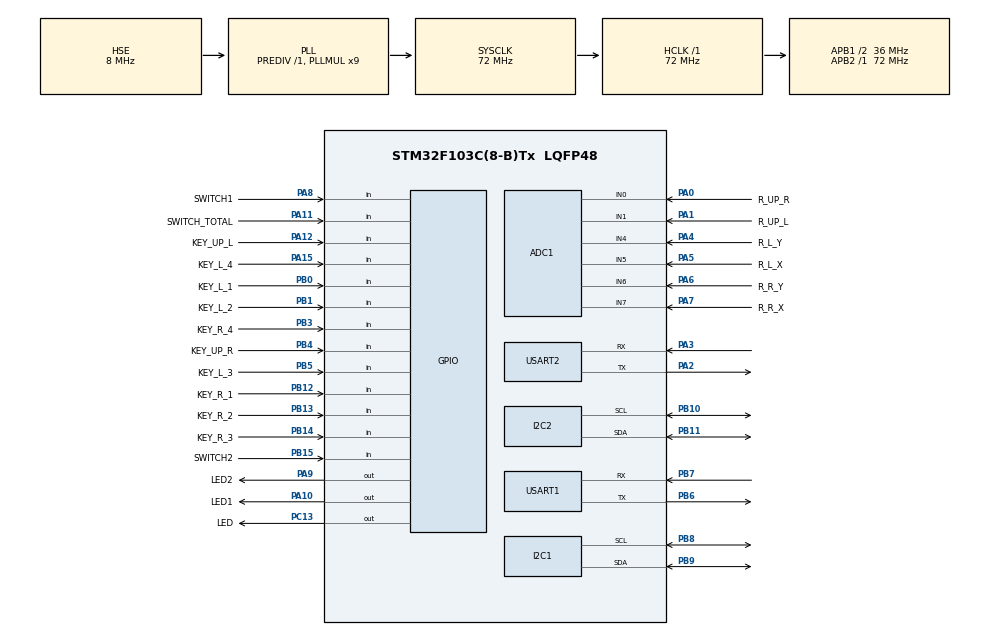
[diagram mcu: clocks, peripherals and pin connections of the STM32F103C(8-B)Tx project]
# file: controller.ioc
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ADC1.Channel-0\#ChannelRegularConversion=ADC_CHANNEL_0
ADC1.Channel-1\#ChannelRegularConversion=ADC_CHANNEL_1
ADC1.Channel-2\#ChannelRegularConversion=ADC_CHANNEL_4
ADC1.Channel-3\#ChannelRegularConversion=ADC_CHANNEL_5
ADC1.Channel-4\#ChannelRegularConversion=ADC_CHANNEL_6
ADC1.Channel-5\#ChannelRegularConversion=ADC_CHANNEL_7
ADC1.ContinuousConvMode=ENABLE
ADC1.NbrOfConversion=6
ADC1.NbrOfConversionFlag=1
ADC1.Rank-0\#ChannelRegularConversion=1
ADC1.Rank-1\#ChannelRegularConversion=2
ADC1.Rank-2\#ChannelRegularConversion=3
ADC1.Rank-3\#ChannelRegularConversion=4
ADC1.Rank-4\#ChannelRegularConversion=5
ADC1.Rank-5\#ChannelRegularConversion=6
ADC1.SamplingTime-0\#ChannelRegularConversion=ADC_SAMPLETIME_55CYCLES_5
ADC1.SamplingTime-1\#ChannelRegularConversion=ADC_SAMPLETIME_55CYCLES_5
ADC1.SamplingTime-2\#ChannelRegularConversion=ADC_SAMPLETIME_55CYCLES_5
ADC1.SamplingTime-3\#ChannelRegularConversion=ADC_SAMPLETIME_55CYCLES_5
ADC1.SamplingTime-4\#ChannelRegularConversion=ADC_SAMPLETIME_55CYCLES_5
ADC1.SamplingTime-5\#ChannelRegularConversion=ADC_SAMPLETIME_55CYCLES_5
ADC1.master=1
Dma.ADC1.0.Direction=DMA_PERIPH_TO_MEMORY
Dma.ADC1.0.Instance=DMA1_Channel1
Dma.ADC1.0.MemDataAlignment=DMA_MDATAALIGN_HALFWORD
Dma.ADC1.0.MemInc=DMA_MINC_ENABLE
Dma.ADC1.0.Mode=DMA_CIRCULAR
Dma.ADC1.0.PeriphDataAlignment=DMA_PDATAALIGN_HALFWORD
Dma.ADC1.0.PeriphInc=DMA_PINC_DISABLE
Dma.ADC1.0.Priority=DMA_PRIORITY_MEDIUM
Dma.I2C2_TX.1.Direction=DMA_MEMORY_TO_PERIPH
Dma.I2C2_TX.1.Instance=DMA1_Channel4
Dma.I2C2_TX.1.MemDataAlignment=DMA_MDATAALIGN_BYTE
Dma.I2C2_TX.1.MemInc=DMA_MINC_ENABLE
Dma.I2C2_TX.1.Mode=DMA_NORMAL
Dma.I2C2_TX.1.PeriphDataAlignment=DMA_PDATAALIGN_BYTE
Dma.I2C2_TX.1.PeriphInc=DMA_PINC_DISABLE
Dma.I2C2_TX.1.Priority=DMA_PRIORITY_LOW
Dma.Request0=ADC1
Dma.Request1=I2C2_TX
FREERTOS.BinarySemaphores01=adc_sem,Dynamic,NULL;key_sem,Dynamic,NULL;iic_sem,Dynamic,NULL
FREERTOS.Tasks01=miantask,0,256,main_func,Default,NULL,Dynamic,NULL,NULL;ADCtask,0,256,ADC_func,Default,NULL,Dynamic,NULL,NULL;keytask,0,256,key_func,Default,NULL,Dynamic,NULL,NULL;iictask,0,256,iic_func,Default,NULL,Dynamic,NULL,NULL
FREERTOS.configTOTAL_HEAP_SIZE=10240
FREERTOS.configUSE_STATS_FORMATTING_FUNCTIONS=0
FREERTOS.configUSE_TRACE_FACILITY=0
I2C2.I2C_Mode=I2C_Fast
Mcu.Family=STM32F1
Mcu.Name=STM32F103C(8-B)Tx
Mcu.Package=LQFP48
NVIC.DMA1_Channel1_IRQn=true\:5\:0\:false\:false\:true\:true\:false\:true\:true
NVIC.DMA1_Channel4_IRQn=true\:5\:0\:false\:false\:true\:true\:false\:true\:true
NVIC.I2C2_EV_IRQn=true\:5\:0\:false\:false\:true\:true\:true\:true\:true
NVIC.PriorityGroup=NVIC_PRIORITYGROUP_4
NVIC.TIM4_IRQn=true\:15\:0\:false\:false\:true\:false\:false\:true\:true
NVIC.TimeBase=TIM4_IRQn
NVIC.TimeBaseIP=TIM4
NVIC.USART2_IRQn=true\:5\:0\:false\:false\:true\:true\:true\:true\:true
PA0-WKUP.GPIO_Label=R_UP_R
PA0-WKUP.Signal=ADCx_IN0
PA1.GPIO_Label=R_UP_L
PA1.Signal=ADCx_IN1
PA10.GPIO_Label=LED1
PA10.Signal=GPIO_Output
PA11.GPIO_Label=SWITCH_TOTAL
PA11.GPIO_PuPd=GPIO_PULLDOWN
PA11.Signal=GPIO_Input
PA12.GPIO_Label=KEY_UP_L
PA12.GPIO_PuPd=GPIO_PULLUP
PA12.Signal=GPIO_Input
PA13.Mode=Serial_Wire
PA13.Signal=SYS_JTMS-SWDIO
PA14.Mode=Serial_Wire
PA14.Signal=SYS_JTCK-SWCLK
PA15.GPIO_Label=KEY_L_4
PA15.GPIO_PuPd=GPIO_PULLDOWN
PA15.Signal=GPIO_Input
PA2.Mode=Asynchronous
PA2.Signal=USART2_TX
PA3.Mode=Asynchronous
PA3.Signal=USART2_RX
PA4.GPIO_Label=R_L_Y
PA4.Signal=ADCx_IN4
PA5.GPIO_Label=R_L_X
PA5.Signal=ADCx_IN5
PA6.GPIO_Label=R_R_Y
PA6.Signal=ADCx_IN6
PA7.GPIO_Label=R_R_X
PA7.Signal=ADCx_IN7
PA8.GPIO_Label=SWITCH1
PA8.GPIO_PuPd=GPIO_PULLDOWN
PA8.Signal=GPIO_Input
PA9.GPIO_Label=LED2
PA9.Signal=GPIO_Output
PB0.GPIO_Label=KEY_L_1
PB0.GPIO_PuPd=GPIO_PULLDOWN
PB0.Signal=GPIO_Input
PB1.GPIO_Label=KEY_L_2
PB1.GPIO_PuPd=GPIO_PULLDOWN
PB1.Signal=GPIO_Input
PB10.Mode=I2C
PB10.Signal=I2C2_SCL
PB11.Mode=I2C
PB11.Signal=I2C2_SDA
PB12.GPIO_Label=KEY_R_1
PB12.GPIO_PuPd=GPIO_PULLDOWN
PB12.Signal=GPIO_Input
PB13.GPIO_Label=KEY_R_2
PB13.GPIO_PuPd=GPIO_PULLDOWN
PB13.Signal=GPIO_Input
PB14.GPIO_Label=KEY_R_3
PB14.GPIO_PuPd=GPIO_PULLDOWN
PB14.Signal=GPIO_Input
PB15.GPIO_Label=SWITCH2
PB15.GPIO_PuPd=GPIO_PULLDOWN
PB15.Signal=GPIO_Input
PB3.GPIO_Label=KEY_R_4
PB3.GPIO_PuPd=GPIO_PULLDOWN
PB3.Signal=GPIO_Input
PB4.GPIO_Label=KEY_UP_R
PB4.GPIO_PuPd=GPIO_PULLUP
PB4.Signal=GPIO_Input
PB5.GPIO_Label=KEY_L_3
PB5.GPIO_PuPd=GPIO_PULLDOWN
PB5.Signal=GPIO_Input
PB6.Mode=Asynchronous
PB6.Signal=USART1_TX
PB7.Mode=Asynchronous
PB7.Signal=USART1_RX
PB8.Mode=I2C
PB8.Signal=I2C1_SCL
PB9.Mode=I2C
PB9.Signal=I2C1_SDA
PC13-TAMPER-RTC.GPIO_Label=LED
PC13-TAMPER-RTC.Signal=GPIO_Output
PC14-OSC32_IN.Mode=LSE-External-Oscillator
PC14-OSC32_IN.Signal=RCC_OSC32_IN
PC15-OSC32_OUT.Mode=LSE-External-Oscillator
PC15-OSC32_OUT.Signal=RCC_OSC32_OUT
PD0-OSC_IN.Mode=HSE-External-Oscillator
PD0-OSC_IN.Signal=RCC_OSC_IN
PD1-OSC_OUT.Mode=HSE-External-Oscillator
PD1-OSC_OUT.Signal=RCC_OSC_OUT
ProjectManager.HeapSize=0x200
ProjectManager.StackSize=0x400
ProjectManager.TargetToolchain=MDK-ARM V5.32
RCC.ADCPresc=RCC_ADCPCLK2_DIV6
RCC.AHBFreq_Value=72000000
RCC.APB1CLKDivider=RCC_HCLK_DIV2
RCC.APB1Freq_Value=36000000
RCC.APB1TimFreq_Value=72000000
RCC.APB2Freq_Value=72000000
RCC.APB2TimFreq_Value=72000000
RCC.HCLKFreq_Value=72000000
RCC.PLLMUL=RCC_PLL_MUL9
RCC.PLLSourceVirtual=RCC_PLLSOURCE_HSE
RCC.SYSCLKFreq_VALUE=72000000
RCC.SYSCLKSource=RCC_SYSCLKSOURCE_PLLCLK
RCC.USBFreq_Value=72000000
SH.ADCx_IN0.0=ADC1_IN0,IN0
SH.ADCx_IN1.0=ADC1_IN1,IN1
SH.ADCx_IN4.0=ADC1_IN4,IN4
SH.ADCx_IN5.0=ADC1_IN5,IN5
SH.ADCx_IN6.0=ADC1_IN6,IN6
SH.ADCx_IN7.0=ADC1_IN7,IN7
USART1.VirtualMode=VM_ASYNC
USART2.VirtualMode=VM_ASYNC
VP_FREERTOS_VS_CMSIS_V1.Mode=CMSIS_V1
VP_SYS_VS_tim4.Mode=TIM4
board=custom

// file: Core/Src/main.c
/* USER CODE BEGIN Header */
/**
  ******************************************************************************
  * @file           : main.c
  * @brief          : Main program body
  ******************************************************************************
  * @attention
  *
  * Copyright (c) 2023 STMicroelectronics.
  * All rights reserved.
  *
  * This software is licensed under terms that can be found in the LICENSE file
  * in the root directory of this software component.
  * If no LICENSE file comes with this software, it is provided AS-IS.
  *
  ******************************************************************************
  */
/* USER CODE END Header */
#include "main.h"
#include "cmsis_os.h"
#include "adc.h"
#include "dma.h"
#include "i2c.h"
#include "usart.h"
#include "gpio.h"

/* USER CODE BEGIN Includes */
#include "stdio.h"
#include "mpu6050.h"
#include "inv_mpu.h"
#include "OLED.h"
#include "user.h"
int fputc(int ch, FILE *f)
{
	uint8_t temp[1] = {ch};
	HAL_UART_Transmit(&huart1, temp, 1, 2); // 需要修改
	return ch;
}
/* USER CODE END Includes */

void SystemClock_Config(void);
void MX_FREERTOS_Init(void);

int main(void)
{

  /* MCU Configuration--------------------------------------------------------*/

  /* Reset of all peripherals, Initializes the Flash interface and the Systick. */
  HAL_Init();

  /* Configure the system clock */
  SystemClock_Config();

  /* USER CODE BEGIN SysInit */

	/*
	注意，每次生成代码之后，需要手动调整一下初始化顺序，让DMA在ADC之前完成初始化，否则会导致启动失败，原因未知
	形式如下
	MX_GPIO_Init();
	MX_DMA_Init();
  MX_ADC1_Init();
  MX_I2C1_Init();
  MX_I2C2_Init();
  MX_USART1_UART_Init();
  MX_USART2_UART_Init();
	*/

  /* USER CODE END SysInit */

  /* Initialize all configured peripherals */
  MX_GPIO_Init();
	MX_DMA_Init();
  MX_ADC1_Init();
  MX_I2C1_Init();
  MX_I2C2_Init();
  MX_USART1_UART_Init();
  MX_USART2_UART_Init();
  /* USER CODE BEGIN 2 */

	mpu_dmp_init();
	OLED_init();
	HAL_Delay(200);
	OLED_refresh_gram();

	trans_init();

  /* USER CODE END 2 */

  /* Call init function for freertos objects (in freertos.c) */
  MX_FREERTOS_Init();

  /* Start scheduler */
  osKernelStart();

  /* We should never get here as control is now taken by the scheduler */
  /* Infinite loop */
  while (1)
  {

  }
}

void SystemClock_Config(void)
{
  RCC_OscInitTypeDef RCC_OscInitStruct = {0};
  RCC_ClkInitTypeDef RCC_ClkInitStruct = {0};
  RCC_PeriphCLKInitTypeDef PeriphClkInit = {0};

  /** Initializes the RCC Oscillators according to the specified parameters
  * in the RCC_OscInitTypeDef structure.
  */
  RCC_OscInitStruct.OscillatorType = RCC_OSCILLATORTYPE_HSE;
  RCC_OscInitStruct.HSEState = RCC_HSE_ON;
  RCC_OscInitStruct.HSEPredivValue = RCC_HSE_PREDIV_DIV1;
  RCC_OscInitStruct.HSIState = RCC_HSI_ON;
  RCC_OscInitStruct.PLL.PLLState = RCC_PLL_ON;
  RCC_OscInitStruct.PLL.PLLSource = RCC_PLLSOURCE_HSE;
  RCC_OscInitStruct.PLL.PLLMUL = RCC_PLL_MUL9;
  if (HAL_RCC_OscConfig(&RCC_OscInitStruct) != HAL_OK)
  {
    Error_Handler();
  }

  /** Initializes the CPU, AHB and APB buses clocks
  */
  RCC_ClkInitStruct.ClockType = RCC_CLOCKTYPE_HCLK|RCC_CLOCKTYPE_SYSCLK
                              |RCC_CLOCKTYPE_PCLK1|RCC_CLOCKTYPE_PCLK2;
  RCC_ClkInitStruct.SYSCLKSource = RCC_SYSCLKSOURCE_PLLCLK;
  RCC_ClkInitStruct.AHBCLKDivider = RCC_SYSCLK_DIV1;
  RCC_ClkInitStruct.APB1CLKDivider = RCC_HCLK_DIV2;
  RCC_ClkInitStruct.APB2CLKDivider = RCC_HCLK_DIV1;

  if (HAL_RCC_ClockConfig(&RCC_ClkInitStruct, FLASH_LATENCY_2) != HAL_OK)
  {
    Error_Handler();
  }
  PeriphClkInit.PeriphClockSelection = RCC_PERIPHCLK_ADC;
  PeriphClkInit.AdcClockSelection = RCC_ADCPCLK2_DIV6;
  if (HAL_RCCEx_PeriphCLKConfig(&PeriphClkInit) != HAL_OK)
  {
    Error_Handler();
  }
}

void HAL_TIM_PeriodElapsedCallback(TIM_HandleTypeDef *htim)
{
  if (htim->Instance == TIM4) {
    HAL_IncTick();
  }
}

void Error_Handler(void)
{
  __disable_irq();
  while (1)
  {
  }
}

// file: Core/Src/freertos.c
/* USER CODE BEGIN Header */
/**
  ******************************************************************************
  * File Name          : freertos.c
  * Description        : Code for freertos applications
  ******************************************************************************
  * @attention
  *
  * Copyright (c) 2023 STMicroelectronics.
  * All rights reserved.
  *
  * This software is licensed under terms that can be found in the LICENSE file
  * in the root directory of this software component.
  * If no LICENSE file comes with this software, it is provided AS-IS.
  *
  ******************************************************************************
  */
/* USER CODE END Header */

#include "FreeRTOS.h"
#include "task.h"
#include "main.h"
#include "cmsis_os.h"

/* USER CODE BEGIN Includes */
#include "adc.h"
#include "stdio.h"
#include "mpu6050.h"
#include "inv_mpu.h"
#include "key_led.h"
#include "OLED.h"
#include <stdlib.h>
#include <string.h>
#include "user.h"

/* USER CODE END Includes */

/* USER CODE BEGIN PM */

void draw_rect(uint8_t x,uint8_t y,uint8_t x2,uint8_t y2)
{

	OLED_draw_line(x, y, x2,y,PEN_WRITE);
	OLED_draw_line(x, y, x,y2,PEN_WRITE);
	OLED_draw_line(x2, y2, x2,y,PEN_WRITE);
	OLED_draw_line(x, y2, x2,y2,PEN_WRITE);

}

void eraser_rect(uint8_t x,uint8_t y,uint8_t x2,uint8_t y2)
{

	OLED_draw_line(x, y, x2,y,PEN_CLEAR);
	OLED_draw_line(x, y, x,y2,PEN_CLEAR);
	OLED_draw_line(x2, y2, x2,y,PEN_CLEAR);
	OLED_draw_line(x, y2, x2,y2,PEN_CLEAR);

}

void draw_point(uint8_t x,uint8_t y)
{
	OLED_draw_point(x,y,PEN_WRITE);
	OLED_draw_point(x-1,y,PEN_WRITE);
	OLED_draw_point(x+1,y,PEN_WRITE);
	OLED_draw_point(x,y-1,PEN_WRITE);
	OLED_draw_point(x,y+1,PEN_WRITE);
}

void eraser_point(uint8_t x,uint8_t y)
{
	OLED_draw_point(x,y,PEN_CLEAR);
	OLED_draw_point(x-1,y,PEN_CLEAR);
	OLED_draw_point(x+1,y,PEN_CLEAR);
	OLED_draw_point(x,y-1,PEN_CLEAR);
	OLED_draw_point(x,y+1,PEN_CLEAR);
}

// 定义了方向，最左侧为1，顺时针增加
#define LFLAG 1
#define UFLAG 2
#define RFLAG 3
#define DFLAG 4

void draw_key_line(uint8_t x, uint8_t y, uint8_t FLAG)
{
	// 给出中间点，自动延伸
	// 左侧   上:21,19 | 下:21,25 | 左:17,20 | 右25,20
	// 右侧   上:21+85,19 | 下:21+85,25 | 左:17+85,20 | 右25+85,20
//	draw_key_line(21,19,UFLAG);
//	draw_key_line(25,20,RFLAG);
//	draw_key_line(17,20,LFLAG);
//	draw_key_line(21,25,DFLAG);
	switch(FLAG)
	{
		case LFLAG:
			OLED_draw_point(x,y,PEN_WRITE);
			OLED_draw_point(x-3,y,PEN_WRITE);
			OLED_draw_point(x-4,y,PEN_WRITE);
			OLED_draw_point(x-7,y,PEN_WRITE);

			OLED_draw_point(x-1,y,PEN_CLEAR);
			OLED_draw_point(x-2,y,PEN_CLEAR);
			OLED_draw_point(x-5,y,PEN_CLEAR);
			OLED_draw_point(x-6,y,PEN_CLEAR);
			break;
		case RFLAG:
			OLED_draw_point(x,y,PEN_WRITE);
			OLED_draw_point(x+3,y,PEN_WRITE);
			OLED_draw_point(x+4,y,PEN_WRITE);
			OLED_draw_point(x+7,y,PEN_WRITE);

			OLED_draw_point(x+1,y,PEN_CLEAR);
			OLED_draw_point(x+2,y,PEN_CLEAR);
			OLED_draw_point(x+5,y,PEN_CLEAR);
			OLED_draw_point(x+6,y,PEN_CLEAR);
			break;
		case DFLAG:
			OLED_draw_point(x,y,PEN_WRITE);
			OLED_draw_point(x,y+3,PEN_WRITE);
			OLED_draw_point(x,y+4,PEN_WRITE);
			OLED_draw_point(x,y+7,PEN_WRITE);

			OLED_draw_point(x,y+1,PEN_CLEAR);
			OLED_draw_point(x,y+2,PEN_CLEAR);
			OLED_draw_point(x,y+5,PEN_CLEAR);
			OLED_draw_point(x,y+6,PEN_CLEAR);
			break;
		case UFLAG:
			OLED_draw_point(x,y,PEN_WRITE);
			OLED_draw_point(x,y-3,PEN_WRITE);
			OLED_draw_point(x,y-4,PEN_WRITE);
			OLED_draw_point(x,y-7,PEN_WRITE);

			OLED_draw_point(x,y-1,PEN_CLEAR);
			OLED_draw_point(x,y-2,PEN_CLEAR);
			OLED_draw_point(x,y-5,PEN_CLEAR);
			OLED_draw_point(x,y-6,PEN_CLEAR);
			break;
	}
}

void bold_key_line(uint8_t x, uint8_t y, uint8_t FLAG)
{
	// 给出中间点，自动延伸
	// 左侧   上:21,19 | 下:21,25 | 左:17,20 | 右25,20
	// 右侧   上:21+85,19 | 下:21+85,25 | 左:17+85,20 | 右25+85,20
	switch(FLAG)
	{
		case LFLAG:
			OLED_draw_point(x-1,y,PEN_WRITE);
			OLED_draw_point(x-2,y,PEN_WRITE);
			OLED_draw_point(x-5,y,PEN_WRITE);
			OLED_draw_point(x-6,y,PEN_WRITE);
			break;
		case RFLAG:
			OLED_draw_point(x+1,y,PEN_WRITE);
			OLED_draw_point(x+2,y,PEN_WRITE);
			OLED_draw_point(x+5,y,PEN_WRITE);
			OLED_draw_point(x+6,y,PEN_WRITE);
			break;
		case DFLAG:
			OLED_draw_point(x,y+1,PEN_WRITE);
			OLED_draw_point(x,y+2,PEN_WRITE);
			OLED_draw_point(x,y+5,PEN_WRITE);
			OLED_draw_point(x,y+6,PEN_WRITE);
			break;
		case UFLAG:
			OLED_draw_point(x,y-1,PEN_WRITE);
			OLED_draw_point(x,y-2,PEN_WRITE);
			OLED_draw_point(x,y-5,PEN_WRITE);
			OLED_draw_point(x,y-6,PEN_WRITE);
			break;
	}
}

uint8_t compute_bias(uint16_t data)
{
	return (uint8_t)(data/4096.0*21);
}

/* USER CODE END PM */

osThreadId miantaskHandle;
osThreadId ADCtaskHandle;
osThreadId keytaskHandle;
osThreadId iictaskHandle;
osSemaphoreId adc_semHandle;
osSemaphoreId key_semHandle;
osSemaphoreId iic_semHandle;

/* USER CODE BEGIN FunctionPrototypes */

// 全局变量，使用信号量来进行控制
extern struct Data global_data;

/* USER CODE END FunctionPrototypes */

void main_func(void const * argument);
void ADC_func(void const * argument);
void key_func(void const * argument);
void iic_func(void const * argument);

void MX_FREERTOS_Init(void); /* (MISRA C 2004 rule 8.1) */

/* GetIdleTaskMemory prototype (linked to static allocation support) */
void vApplicationGetIdleTaskMemory( StaticTask_t **ppxIdleTaskTCBBuffer, StackType_t **ppxIdleTaskStackBuffer, uint32_t *pulIdleTaskStackSize );

/* USER CODE BEGIN GET_IDLE_TASK_MEMORY */
static StaticTask_t xIdleTaskTCBBuffer;
static StackType_t xIdleStack[configMINIMAL_STACK_SIZE];

void vApplicationGetIdleTaskMemory( StaticTask_t **ppxIdleTaskTCBBuffer, StackType_t **ppxIdleTaskStackBuffer, uint32_t *pulIdleTaskStackSize )
{
  *ppxIdleTaskTCBBuffer = &xIdleTaskTCBBuffer;
  *ppxIdleTaskStackBuffer = &xIdleStack[0];
  *pulIdleTaskStackSize = configMINIMAL_STACK_SIZE;
  /* place for user code */
}
/* USER CODE END GET_IDLE_TASK_MEMORY */

void MX_FREERTOS_Init(void) {

  /* Create the semaphores(s) */
  /* definition and creation of adc_sem */
  osSemaphoreDef(adc_sem);
  adc_semHandle = osSemaphoreCreate(osSemaphore(adc_sem), 1);

  /* definition and creation of key_sem */
  osSemaphoreDef(key_sem);
  key_semHandle = osSemaphoreCreate(osSemaphore(key_sem), 1);

  /* definition and creation of iic_sem */
  osSemaphoreDef(iic_sem);
  iic_semHandle = osSemaphoreCreate(osSemaphore(iic_sem), 1);

  /* Create the thread(s) */
  /* definition and creation of miantask */
  osThreadDef(miantask, main_func, osPriorityNormal, 0, 256);
  miantaskHandle = osThreadCreate(osThread(miantask), NULL);

  /* definition and creation of ADCtask */
  osThreadDef(ADCtask, ADC_func, osPriorityNormal, 0, 256);
  ADCtaskHandle = osThreadCreate(osThread(ADCtask), NULL);

  /* definition and creation of keytask */
  osThreadDef(keytask, key_func, osPriorityNormal, 0, 256);
  keytaskHandle = osThreadCreate(osThread(keytask), NULL);

  /* definition and creation of iictask */
  osThreadDef(iictask, iic_func, osPriorityNormal, 0, 256);
  iictaskHandle = osThreadCreate(osThread(iictask), NULL);

}

void main_func(void const * argument)
{
  /* USER CODE BEGIN main_func */
	// 定义一些局部变量来暂存全局数据
	struct Data local_data;

	// 两个大矩形来表示摇杆
	draw_rect(9,39,33,63);
	draw_point(21,51);

	draw_rect(94,39,118,63);
	draw_point(106,51);

	// 绘制电阻器的两个矩形框
	draw_rect(9,1,33,5);
	draw_point(21,3);

	draw_rect(94,1,118,5);
	draw_point(106,3);

	// 绘制顶部按键的两个矩形框
	draw_rect(3,1,7,5);
	draw_rect(120,1,124,5);

	// 绘制中间三个矩形按键表示
	draw_rect(36,17,52,25);
	OLED_draw_line(36+8,17,36+8,25,PEN_WRITE);
	draw_rect(55,17,71,25);
	OLED_draw_line(55+8,17,55+8,25,PEN_WRITE);
	draw_rect(74,17,90,25);
	OLED_draw_line(74+8,17,74+8,25,PEN_WRITE);

	// 绘制中间最大的矩形，用于表示mpu数据
	draw_rect(40,30,87,63);

	// 绘制8个按键
	draw_key_line(21,17,UFLAG);
	draw_key_line(25,20,RFLAG);
	draw_key_line(17,20,LFLAG);
	draw_key_line(21,23,DFLAG);
	draw_key_line(21+85,17,UFLAG);
	draw_key_line(25+85,20,RFLAG);
	draw_key_line(17+85,20,LFLAG);
	draw_key_line(21+85,23,DFLAG);
	osDelay(100);

  /* Infinite loop */
  for(;;)
  {

		//OLED_operate_gram(PEN_CLEAR);//清缓存
		if( xSemaphoreTake(adc_semHandle,portMAX_DELAY)==pdPASS)
		{
			if( xSemaphoreTake(key_semHandle,portMAX_DELAY)==pdPASS)
			{
				if( xSemaphoreTake(iic_semHandle,portMAX_DELAY)==pdPASS)
				{
					// 到达这里表示三个锁已经全部获取，可以暂存数据并用于后续输出

					memcpy(&local_data, &global_data ,sizeof(struct Data));
					xSemaphoreGive(iic_semHandle);
				}
				else
				{
					continue;
				}
				xSemaphoreGive(key_semHandle);
			}
			else
			{
				continue;
			}
			xSemaphoreGive(adc_semHandle);
		}
		else
		{
			continue;
		}

		// 然后执行发送函数
		trans_func(local_data);

		Board_LED_Toggle;
		//char rs[300];
		//vTaskList(rs);
		osDelay(300);
//		LED1_Toggle;
//		LED2_Toggle;
//    osDelay(200);
  }
  /* USER CODE END main_func */
}

void ADC_func(void const * argument)
{
  /* USER CODE BEGIN ADC_func */
  /* Infinite loop */
	uint8_t x1=21,y1=51;
	uint8_t x2=106,y2=51;
	uint8_t b1=21,b2=106;

	uint16_t ADC_Values[6]={0};
	HAL_ADCEx_Calibration_Start(&hadc1);
	osDelay(50);
	HAL_ADC_Start_DMA(&hadc1,(uint32_t *)ADC_Values,6);
  for(;;)
  {
//		OLED_printf(2, 0,"%4d, %4d, %4d    ",ADC_Values[0],ADC_Values[1],ADC_Values[2]);
//		OLED_printf(3, 0,"%4d, %4d, %4d    ",ADC_Values[3],ADC_Values[4],ADC_Values[5]);

		// 画图
		eraser_point(b1,3);
		b1 = compute_bias(ADC_Values[1])+9+2;
		draw_point(b1,3);

		eraser_point(b2,3);
		b2 = 118-(compute_bias(ADC_Values[0])+2);
		draw_point(b2,3);

		eraser_point(x1,y1);
		x1 = compute_bias(ADC_Values[2])+9+2;
		y1 = 39+2+compute_bias(ADC_Values[3]);
		draw_point(x1,y1);

		eraser_point(x2,y2);
		x2 = compute_bias(ADC_Values[4])+9+85+2;
		y2 = 39+2+compute_bias(ADC_Values[5]);
		draw_point(x2,y2);

		OLED_refresh_gram();//全局刷新

		// 最后更新全局数据
		if( xSemaphoreTake(adc_semHandle,portMAX_DELAY)==pdPASS)
		{
			global_data.g_x1 = ADC_Values[2];
			global_data.g_x2 = ADC_Values[4];
			global_data.g_y1 = ADC_Values[3];
			global_data.g_y2 = ADC_Values[5];
			global_data.g_b1 = ADC_Values[1];
			global_data.g_b2 = ADC_Values[0];
			xSemaphoreGive(adc_semHandle);
		}
		else
		{
			continue;
		}

//		for(int i =0;i<6;i++)
//		{
//			OLED_printf(2, 0,"%d, %d\n",i,ADC_Values[i]);
//			//OLED_show_floatnum(4, 12, i, 0);
//			printf("%d, %d\n",i,ADC_Values[i]);
//			OLED_refresh_gram();//全局刷新
//		}
		//osDelay(100);
  }
  /* USER CODE END ADC_func */
}

void key_func(void const * argument)
{
  /* USER CODE BEGIN key_func */
  /* Infinite loop */
	// 一共8+2+3的读取，用16位来表示，仅使用后13位
	// 后八位为key_left和key_right的表示
	// 前5位为switch和顶部key的表示
	uint16_t key_result=0;
	uint8_t tmp;
  for(;;)
  {
		key_result = 0;
		{
		// 左侧4个按键
		tmp = LKEY1;
		key_result |= (tmp==1 ? (1<<7) : 0);
		if(!tmp)
			draw_key_line(17,20,LFLAG);
		else
			bold_key_line(17,20,LFLAG);

		tmp = LKEY2;
		key_result |= (tmp==1 ? (1<<6) : 0);
		if(!tmp)
			draw_key_line(21,17,UFLAG);
		else
			bold_key_line(21,17,UFLAG);

		tmp = LKEY3;
		key_result |= (tmp==1 ? (1<<5) : 0);
		if(!tmp)
			draw_key_line(25,20,RFLAG);
		else
			bold_key_line(25,20,RFLAG);

		tmp = LKEY4;
		key_result |= (tmp==1 ? (1<<4) : 0);
		if(!tmp)
			draw_key_line(21,23,DFLAG);
		else
			bold_key_line(21,23,DFLAG);

		// 右侧4个按键
		tmp = RKEY1;
		key_result |= (tmp==1 ? (1<<3) : 0);
		if(!tmp)
			draw_key_line(17+85,20,LFLAG);
		else
			bold_key_line(17+85,20,LFLAG);

		tmp = RKEY2;
		key_result |= (tmp==1 ? (1<<2) : 0);
		if(!tmp)
			draw_key_line(21+85,17,UFLAG);
		else
			bold_key_line(21+85,17,UFLAG);

		tmp = RKEY3;
		key_result |= (tmp==1 ? (1<<1) : 0);
		if(!tmp)
			draw_key_line(25+85,20,RFLAG);
		else
			bold_key_line(25+85,20,RFLAG);

		tmp = RKEY4;
		key_result |= (tmp==1 ? (1<<0) : 0);
		if(!tmp)
			draw_key_line(21+85,23,DFLAG);
		else
			bold_key_line(21+85,23,DFLAG);

		// 顶部2个按键
		tmp = KEY_UP_L;
		key_result |= (tmp==0 ? (1<<9) : 0);
		if(tmp)
			draw_point(5,3);
		else
			eraser_point(5,3);

		tmp = KEY_UP_R;
		key_result |= (tmp==0 ? (1<<10) : 0);
		if(tmp)
			draw_point(122,3);
		else
			eraser_point(122,3);
	}

		// 3个开关
		key_result |= (SWITCH_TOTAL==1 ? (1<<13) : 0);

		key_result |= (SWITCH1==1 ? (1<<12) : 0);
		key_result |= (SWITCH2==1 ? (1<<11) : 0);

		// 绘制三个开关的显示
		if(!SWITCH1)
		{
			draw_point(36+2,17+2);
			draw_point(36+2+4,17+2);
			draw_point(36+2,17+2+4);
			draw_point(36+2+4,17+2+4);
			eraser_point(44+2,17+2);
			eraser_point(44+2+4,17+2);
			eraser_point(44+2,17+2+4);
			eraser_point(44+2+4,17+2+4);
		}
		else
		{
			eraser_point(36+2,17+2);
			eraser_point(36+2+4,17+2);
			eraser_point(36+2,17+2+4);
			eraser_point(36+2+4,17+2+4);
			draw_point(44+2,17+2);
			draw_point(44+2+4,17+2);
			draw_point(44+2,17+2+4);
			draw_point(44+2+4,17+2+4);
		}
		if(!SWITCH_TOTAL)
		{
			draw_point(55+2,17+2);
			draw_point(55+2+4,17+2);
			draw_point(55+2,17+2+4);
			draw_point(55+2+4,17+2+4);
			eraser_point(63+2,17+2);
			eraser_point(63+2+4,17+2);
			eraser_point(63+2,17+2+4);
			eraser_point(63+2+4,17+2+4);
		}
		else
		{
			eraser_point(55+2,17+2);
			eraser_point(55+2+4,17+2);
			eraser_point(55+2,17+2+4);
			eraser_point(55+2+4,17+2+4);
			draw_point(63+2,17+2);
			draw_point(63+2+4,17+2);
			draw_point(63+2,17+2+4);
			draw_point(63+2+4,17+2+4);
		}
		if(!SWITCH2)
		{
			draw_point(74+2,17+2);
			draw_point(74+2+4,17+2);
			draw_point(74+2,17+2+4);
			draw_point(74+2+4,17+2+4);
			eraser_point(82+2,17+2);
			eraser_point(82+2+4,17+2);
			eraser_point(82+2,17+2+4);
			eraser_point(82+2+4,17+2+4);
		}
		else
		{
			eraser_point(74+2,17+2);
			eraser_point(74+2+4,17+2);
			eraser_point(74+2,17+2+4);
			eraser_point(74+2+4,17+2+4);
			draw_point(82+2,17+2);
			draw_point(82+2+4,17+2);
			draw_point(82+2,17+2+4);
			draw_point(82+2+4,17+2+4);
		}

		// 最后更新全局数据
		if( xSemaphoreTake(key_semHandle,portMAX_DELAY)==pdPASS)
		{
			global_data.g_key_result = key_result;
			xSemaphoreGive(key_semHandle);
		}
		else
		{
			continue;
		}
		//printf("%x\n",key_result);
		//OLED_printf(4, 0,"%x",key_result);
		//OLED_refresh_gram();//全局刷新

    //osDelay(100);
  }
  /* USER CODE END key_func */
}

void iic_func(void const * argument)
{
  /* USER CODE BEGIN iic_func */
  /* Infinite loop */
	float pos_x=630,pos_y=470;
	float x,y,x_t,y_t,z_t;
	draw_point(pos_x,pos_y);
  for(;;)
  {

		mpu_dmp_get_data(&x_t,&y_t,&z_t);
		//printf("x=%f y=%f\n",x,y);
		x = x_t;
		y = y_t;
		x = x>50?50:x;
		x = x<-50?-50:x;
		x = x/30;

		y = y>80?80:y;
		y = y<-80?-80:y;
		y = y/35;

		eraser_point((uint8_t)(pos_x/10),(uint8_t)(pos_y/10));
		pos_x-=y;
		pos_y+=x;

		pos_x = pos_x>=850?850:pos_x;
		pos_x = pos_x<=420?420:pos_x;

		pos_y = pos_y>=610?610:pos_y;
		pos_y = pos_y<=320?320:pos_y;

		draw_point((uint8_t)(pos_x/10),(uint8_t)(pos_y/10));

		//printf("x=%d y=%d\n",pos_x,pos_y);

		//OLED_printf(0, 0,"%.2f %.2f %.2f",x,y,z);
		//OLED_refresh_gram();//全局刷新
		// 最后更新全局数据
		if( xSemaphoreTake(iic_semHandle,portMAX_DELAY)==pdPASS)
		{
			global_data.g_pos_x = pos_x;
			global_data.g_pos_y = pos_y;
			global_data.g_x = x_t;
			global_data.g_y = y_t;
			xSemaphoreGive(iic_semHandle);
		}
		else
		{
			continue;
		}

  }
  /* USER CODE END iic_func */
}
